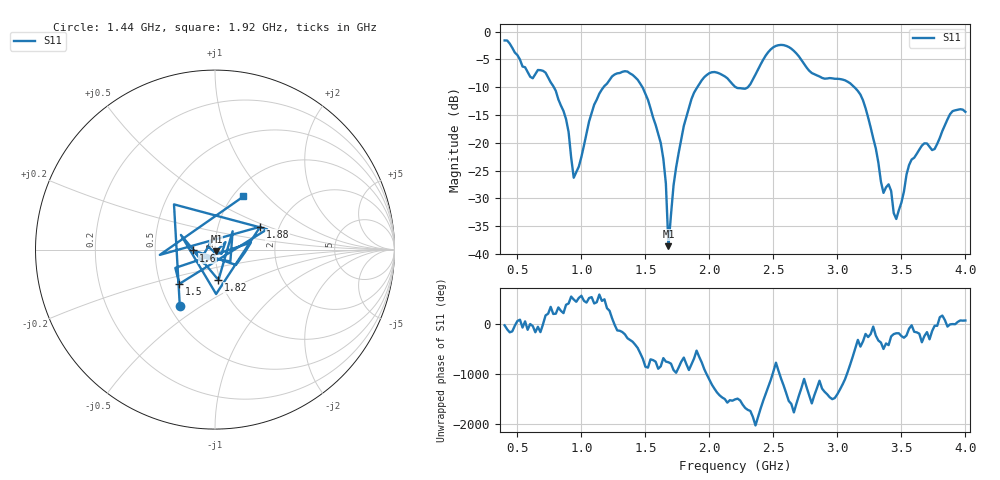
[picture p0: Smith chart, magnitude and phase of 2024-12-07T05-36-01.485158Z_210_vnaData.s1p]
!Created with skrf (http://scikit-rf.org).
# Hz S RI R 50.0
!freq ReS11 ImS11
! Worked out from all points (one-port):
!   181 points, 400 MHz to 4 GHz, reference 50 ohm
!   lowest |S11| = -38.6 dB at 1.68 GHz (marker M1), VSWR 1.02, Z = 50.8 - j0.875 ohm
!   |S11| at or under -10 dB: 784.7 MHz to 1.173 GHz (388.3 MHz wide, 39.7 % of centre); 1.477 GHz to 1.906 GHz (428.8 MHz wide, 25.4 % of centre); 3.133 GHz to end of sweep (the widest 3 of 4)
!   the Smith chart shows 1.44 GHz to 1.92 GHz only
!   S11 on the Smith chart (normalised r, x): 1.44 GHz: 0.57, -0.41; 1.5 GHz: 0.63, -0.26; 1.6 GHz: 0.79, -0.01; 1.82 GHz: 0.98, -0.34; 1.88 GHz: 1.60, +0.44; 1.92 GHz: 1.12, +0.74
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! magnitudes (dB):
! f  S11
! 400 MHz  -1.6
! 600 MHz  -8.1
! 720 MHz  -7.4
! 860 MHz  -14.3
! 940 MHz  -26.3
! 1.1 GHz  -13.1
! 1.3 GHz  -7.4
! 1.44 GHz  -8.7
! 1.5 GHz  -11.2
! 1.6 GHz  -18.4
! 1.66 GHz  -27.4
! 1.68 GHz  -38.6
! 1.72 GHz  -27.6
! 1.76 GHz  -21.8
! 1.82 GHz  -15.4
! 1.88 GHz  -11.0
! 1.92 GHz  -9.5
! 2.2 GHz  -9.9
! 2.3 GHz  -10.0
! 2.5 GHz  -2.8
! 2.66 GHz  -3.5
! 3.1 GHz  -9.3
! 3.2 GHz  -12.4
! 3.36 GHz  -29.0
! 3.4 GHz  -27.5
! 3.46 GHz  -33.7
! 3.56 GHz  -24.0
! 4 GHz  -14.4
